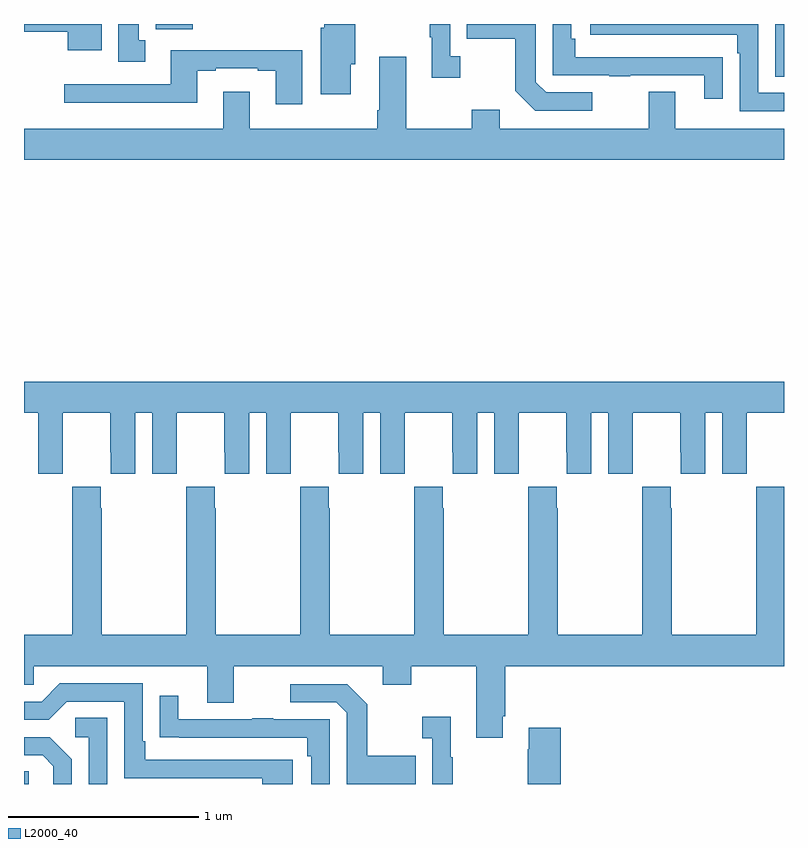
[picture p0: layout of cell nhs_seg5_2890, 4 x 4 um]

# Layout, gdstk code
import gdstk
lib = gdstk.Library(unit=1e-6, precision=1e-09)
def R(c, l, rs):  # rectangles x0, y0, x1, y1
    for r in rs: c.add(gdstk.rectangle(r[:2], r[2:], *l))
def P(c, l, *ps):  # polygons
    for p in ps: c.add(gdstk.Polygon(p, *l))
L2000_40 = (2000, 40)

nhs_seg5_2890 = lib.new_cell('nhs_seg5_2890')
R(nhs_seg5_2890, L2000_40, [(279,862.799,279.024,862.865), (282.954,866.521,283,866.799), (279.693,866.772,279.889,866.799)])
P(nhs_seg5_2890, L2000_40, [(280.72,866.586),(280.743,866.586),(280.743,866.799),(280.58,866.799),(280.58,866.778),(280.562,866.778),(280.562,866.43),(280.72,866.43)],
  [(281.296,866.63),(281.244,866.63),(281.244,866.799),(281.136,866.799),(281.136,866.729),(281.147,866.729),(281.147,866.517),(281.296,866.517)],
  [(279.637,866.713),(279.604,866.713),(279.604,866.799),(279.497,866.799),(279.497,866.601),(279.637,866.601)],
  [(282.677,866.624),(282.575,866.624),(282.575,866.625),(281.9,866.625),(281.9,866.722),(281.88,866.722),(281.88,866.799),(281.784,866.799),(281.784,866.529),(282.079,866.529),(282.079,866.524),(282.191,866.524),(282.191,866.529),(282.581,866.529),(282.581,866.406),(282.677,866.406)],
  [(279.409,866.799),(279,866.799),(279,866.759),(279.23,866.759),(279.23,866.66),(279.409,866.66)],
  [(281.992,866.439),(281.748,866.439),(281.694,866.493),(281.694,866.799),(281.329,866.799),(281.329,866.722),(281.586,866.722),(281.586,866.449),(281.691,866.343),(281.992,866.343)],
  [(283,866.436),(282.864,866.436),(282.864,866.799),(281.979,866.799),(281.979,866.742),(282.755,866.742),(282.755,866.645),(282.768,866.645),(282.768,866.34),(283,866.34)],
  [(280.465,866.662),(279.773,866.662),(279.773,866.481),(279.213,866.481),(279.213,866.384),(279.913,866.384),(279.913,866.553),(280.009,866.553),(280.009,866.565),(280.229,866.565),(280.229,866.553),(280.325,866.553),(280.325,866.376),(280.465,866.376)],
  [(283,866.248),(282.427,866.248),(282.427,866.443),(282.287,866.443),(282.287,866.248),(281.503,866.248),(281.503,866.347),(281.356,866.347),(281.356,866.248),(281.011,866.248),(281.011,866.626),(280.871,866.626),(280.871,866.344),(280.859,866.344),(280.859,866.248),(280.189,866.248),(280.189,866.443),(280.049,866.443),(280.049,866.248),(279,866.248),(279,866.084),(283,866.084)],
  [(279,864.752),(279.074,864.752),(279.074,864.432),(279.204,864.432),(279.204,864.544),(279.205,864.544),(279.205,864.752),(279.455,864.752),(279.455,864.544),(279.456,864.544),(279.456,864.432),(279.586,864.432),(279.586,864.752),(279.674,864.752),(279.674,864.432),(279.804,864.432),(279.804,864.544),(279.805,864.544),(279.805,864.752),(280.055,864.752),(280.055,864.544),(280.056,864.544),(280.056,864.432),(280.186,864.432),(280.186,864.752),(280.274,864.752),(280.274,864.432),(280.404,864.432),(280.404,864.544),(280.405,864.544),(280.405,864.752),(280.655,864.752),(280.655,864.544),(280.656,864.544),(280.656,864.432),(280.786,864.432),(280.786,864.752),(280.874,864.752),(280.874,864.432),(281.004,864.432),(281.004,864.544),(281.005,864.544),(281.005,864.752),(281.255,864.752),(281.255,864.544),(281.256,864.544),(281.256,864.432),(281.386,864.432),(281.386,864.752),(281.474,864.752),(281.474,864.432),(281.604,864.432),(281.604,864.544),(281.605,864.544),(281.605,864.752),(281.855,864.752),(281.855,864.544),(281.856,864.544),(281.856,864.432),(281.986,864.432),(281.986,864.752),(282.074,864.752),(282.074,864.432),(282.204,864.432),(282.204,864.544),(282.205,864.544),(282.205,864.752),(282.455,864.752),(282.455,864.544),(282.456,864.544),(282.456,864.432),(282.586,864.432),(282.586,864.752),(282.674,864.752),(282.674,864.432),(282.804,864.432),(282.804,864.544),(282.805,864.544),(282.805,864.752),(283,864.752),(283,864.916),(279,864.916)],
  [(281.521,863.155),(281.534,863.155),(281.534,863.42),(283,863.42),(283,864.364),(282.855,864.364),(282.855,864.251),(282.853,864.251),(282.853,863.584),(282.408,863.584),(282.408,864.251),(282.405,864.251),(282.405,864.364),(282.255,864.364),(282.255,864.251),(282.253,864.251),(282.253,863.584),(281.808,863.584),(281.808,864.251),(281.805,864.251),(281.805,864.364),(281.655,864.364),(281.655,864.251),(281.653,864.251),(281.653,863.584),(281.208,863.584),(281.208,864.251),(281.205,864.251),(281.205,864.364),(281.055,864.364),(281.055,864.251),(281.053,864.251),(281.053,863.584),(280.608,863.584),(280.608,864.251),(280.605,864.251),(280.605,864.364),(280.455,864.364),(280.455,864.251),(280.453,864.251),(280.453,863.584),(280.008,863.584),(280.008,864.251),(280.005,864.251),(280.005,864.364),(279.855,864.364),(279.855,864.251),(279.853,864.251),(279.853,863.584),(279.408,863.584),(279.408,864.251),(279.405,864.251),(279.405,864.364),(279.255,864.364),(279.255,864.251),(279.253,864.251),(279.253,863.584),(279,863.584),(279,863.322),(279.051,863.322),(279.051,863.42),(279.965,863.42),(279.965,863.226),(280.105,863.226),(280.105,863.42),(280.889,863.42),(280.889,863.321),(281.037,863.321),(281.037,863.42),(281.381,863.42),(281.381,863.043),(281.521,863.043)],
  [(280.414,862.926),(279.637,862.926),(279.637,863.023),(279.624,863.023),(279.624,863.328),(279.189,863.328),(279.093,863.232),(279,863.232),(279,863.136),(279.129,863.136),(279.225,863.232),(279.528,863.232),(279.528,862.83),(280.253,862.83),(280.253,862.799),(280.414,862.799)],
  [(281.063,862.947),(280.807,862.947),(280.807,863.219),(280.701,863.325),(280.401,863.325),(280.401,863.229),(280.644,863.229),(280.698,863.175),(280.698,862.799),(281.063,862.799)],
  [(280.608,863.139),(280.313,863.139),(280.313,863.144),(280.201,863.144),(280.201,863.139),(279.811,863.139),(279.811,863.263),(279.715,863.263),(279.715,863.044),(279.817,863.044),(279.817,863.043),(280.492,863.043),(280.492,862.946),(280.512,862.946),(280.512,862.799),(280.608,862.799)],
  [(281.257,862.939),(281.245,862.939),(281.245,863.152),(281.097,863.152),(281.097,863.039),(281.148,863.039),(281.148,862.799),(281.257,862.799)],
  [(279.438,863.147),(279.27,863.147),(279.27,863.046),(279.342,863.046),(279.342,862.799),(279.438,862.799)],
  [(281.825,863.095),(281.657,863.095),(281.657,862.982),(281.65,862.982),(281.65,862.799),(281.825,862.799)],
  [(279.252,862.93),(279.136,863.046),(279,863.046),(279,862.95),(279.098,862.95),(279.155,862.893),(279.155,862.799),(279.252,862.799)])

lib.write_gds('nhs_seg5_2890.gds')
